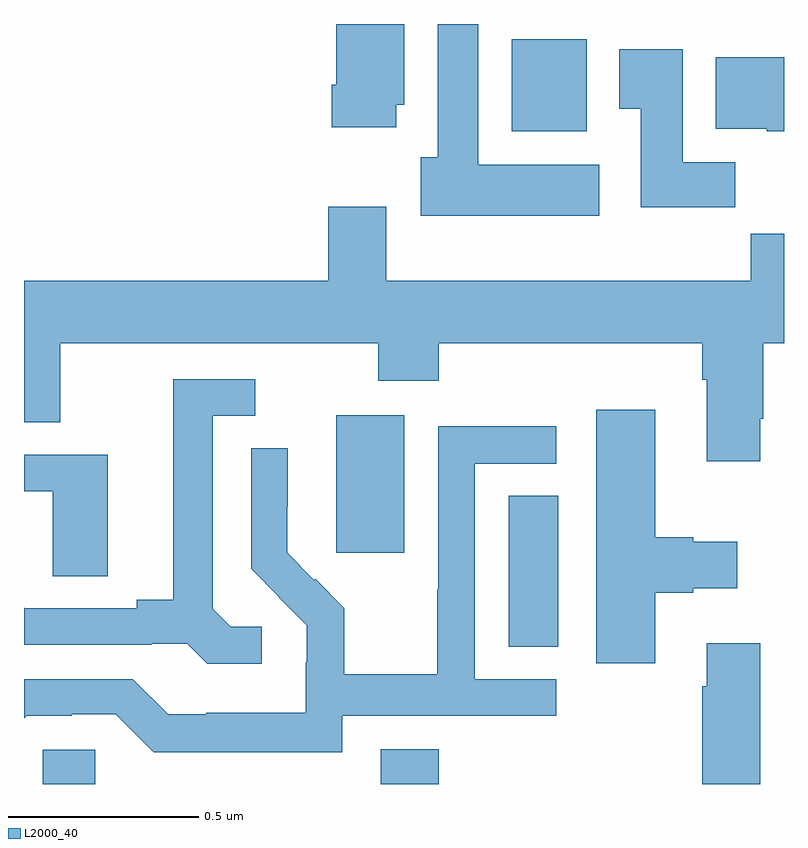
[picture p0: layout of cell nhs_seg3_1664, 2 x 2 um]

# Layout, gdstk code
import gdstk
lib = gdstk.Library(unit=1e-6, precision=1e-09)
def R(c, l, rs):  # rectangles x0, y0, x1, y1
    for r in rs: c.add(gdstk.rectangle(r[:2], r[2:], *l))
def P(c, l, *ps):  # polygons
    for p in ps: c.add(gdstk.Polygon(p, *l))
L2000_40 = (2000, 40)

nhs_seg3_1664 = lib.new_cell('nhs_seg3_1664')
R(nhs_seg3_1664, L2000_40, [(131.049,722.4,131.187,722.49), (131.939,722.4,132.092,722.491), (132.275,722.761,132.406,723.158), (131.822,723.009,132.001,723.37), (132.284,724.118,132.481,724.36)])
P(nhs_seg3_1664, L2000_40, [(131.98,724.188),(132.001,724.188),(132.001,724.4),(131.822,724.4),(131.822,724.24),(131.81,724.24),(131.81,724.128),(131.98,724.128)],
  [(132.514,724.03),(132.196,724.03),(132.196,724.4),(132.089,724.4),(132.089,724.05),(132.044,724.05),(132.044,723.896),(132.514,723.896)],
  [(132.872,724.036),(132.733,724.036),(132.733,724.333),(132.566,724.333),(132.566,724.177),(132.623,724.177),(132.623,723.918),(132.872,723.918)],
  [(133,724.312),(132.821,724.312),(132.821,724.124),(132.954,724.124),(132.954,724.118),(133,724.118)],
  [(132.937,723.361),(132.945,723.361),(132.945,723.56),(133,723.56),(133,723.848),(132.913,723.848),(132.913,723.724),(131.953,723.724),(131.953,723.919),(131.801,723.919),(131.801,723.724),(131,723.724),(131,723.352),(131.095,723.352),(131.095,723.56),(131.932,723.56),(131.932,723.461),(132.092,723.461),(132.092,723.56),(132.785,723.56),(132.785,723.464),(132.797,723.464),(132.797,723.249),(132.937,723.249)],
  [(131.626,722.814),(131.544,722.814),(131.497,722.861),(131.497,723.369),(131.608,723.369),(131.608,723.465),(131.393,723.465),(131.393,722.885),(131.297,722.885),(131.297,722.862),(131.002,722.862),(131,722.864),(131,722.766),(131.336,722.766),(131.336,722.769),(131.43,722.769),(131.482,722.717),(131.626,722.717)],
  [(132.661,722.903),(132.761,722.903),(132.761,722.915),(132.877,722.915),(132.877,723.037),(132.761,723.037),(132.761,723.05),(132.661,723.05),(132.661,723.385),(132.506,723.385),(132.506,722.718),(132.661,722.718)],
  [(131.838,722.58),(132.4,722.58),(132.4,722.676),(132.186,722.676),(132.186,723.243),(132.4,723.243),(132.4,723.342),(132.09,723.342),(132.09,722.912),(132.088,722.912),(132.088,722.689),(131.843,722.689),(131.843,722.863),(131.766,722.94),(131.763,722.937),(131.693,723.008),(131.693,723.13),(131.694,723.13),(131.694,723.284),(131.598,723.284),(131.598,722.966),(131.671,722.893),(131.67,722.892),(131.744,722.818),(131.744,722.721),(131.742,722.721),(131.742,722.587),(131.479,722.587),(131.479,722.583),(131.379,722.583),(131.286,722.676),(131,722.676),(131,722.573),(131.007,722.58),(131.126,722.58),(131.126,722.583),(131.241,722.583),(131.341,722.483),(131.838,722.483)],
  [(131.221,723.267),(131,723.267),(131,723.171),(131.076,723.171),(131.076,722.947),(131.221,722.947)],
  [(132.937,722.77),(132.797,722.77),(132.797,722.657),(132.785,722.657),(132.785,722.4),(132.937,722.4)])

lib.write_gds('nhs_seg3_1664.gds')
